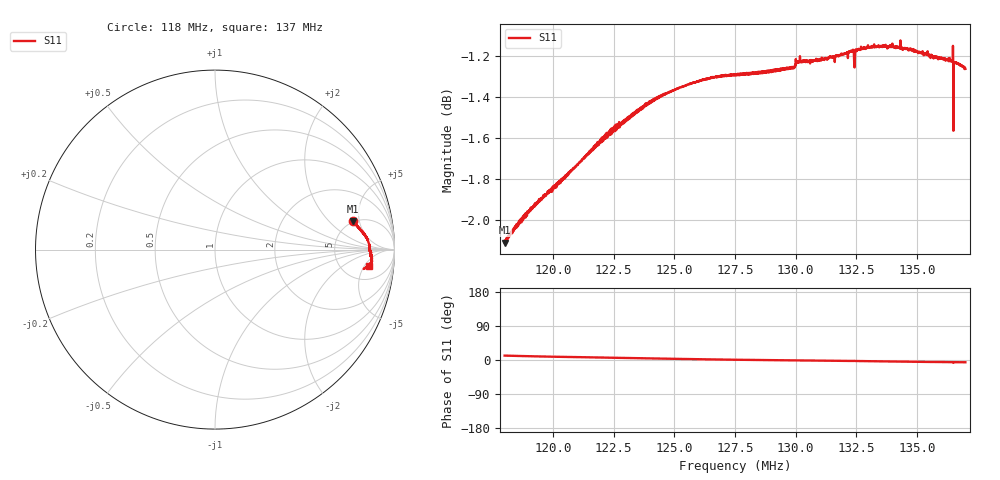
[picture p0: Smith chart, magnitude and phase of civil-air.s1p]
! Calibrated averaged scanner-service zoom
# Hz S RI R 50
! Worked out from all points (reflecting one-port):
!   2001 points, 118 MHz to 137 MHz, reference 50 ohm
!   lowest |S11| = -2.1 dB at 118 MHz (marker M1), VSWR 8.27, Z = 244 + j201 ohm
!   phase of S11 starts at 12 deg and turns -18 deg over the sweep
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1.18e8  0.7682 0.1581
1.19026e8  0.7861 0.1383
1.19634e8  0.7946 0.128
1.20375e8  0.8046 0.1162
1.215815e8  0.8202 0.1014
1.2275e8  0.8333 0.082
1.2389e8  0.8457 0.064
1.25125e8  0.8538 0.0447
1.264645e8  0.8596 0.0239
1.275e8  0.8614 0.0104
1.284975e8  0.8623 -0.00109
1.29875e8  0.8648 -0.0142
1.30103e8  0.868 -0.0165
1.309675e8  0.8682 -0.0247
1.3225e8  0.872 -0.0382
1.324305e8  0.8645 -0.0348
1.325065e8  0.8726 -0.0406
1.32554e8  0.8727 -0.0409
1.331905e8  0.8741 -0.0499
1.339505e8  0.8736 -0.0597
1.34625e8  0.8713 -0.0679
1.35499e8  0.8671 -0.077
1.36392e8  0.8642 -0.0851
1.364015e8  0.8641 -0.0852
1.36411e8  0.8643 -0.0852
1.36601e8  0.863 -0.0868
1.366105e8  0.8632 -0.087
1.37e8  0.8598 -0.09
